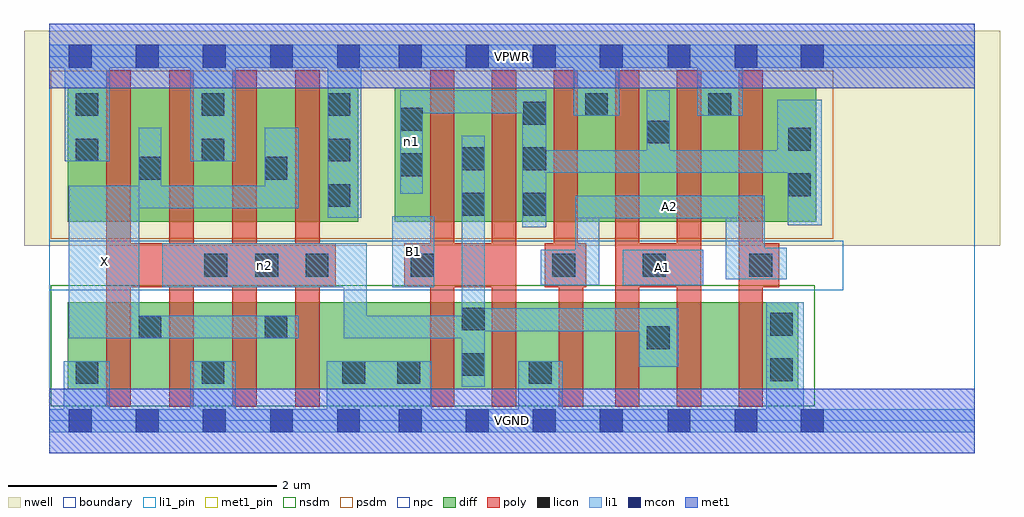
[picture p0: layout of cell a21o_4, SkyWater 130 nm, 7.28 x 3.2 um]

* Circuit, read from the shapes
.subckt a21o_4 A1 A2 B1 VGND VPWR X n1 n2
XM1 X n2 VGND VSUBS sky130_fd_pr__nfet_01v8 w=0.65 l=0.18 m=4
XM2 n2 B1 VGND VSUBS sky130_fd_pr__nfet_01v8 w=0.65 l=0.18 m=2
XM3 n3 A2 VGND VSUBS sky130_fd_pr__nfet_01v8 w=0.65 l=0.18
XM4 n2 A1 n3 VSUBS sky130_fd_pr__nfet_01v8 w=0.65 l=0.18
XM5 n4 A1 n2 VSUBS sky130_fd_pr__nfet_01v8 w=0.65 l=0.18
XM6 VGND A2 n4 VSUBS sky130_fd_pr__nfet_01v8 w=0.65 l=0.18
XM7 X n2 VPWR n5 sky130_fd_pr__pfet_01v8 w=1 l=0.18 m=4
XM8 n2 B1 n1 n5 sky130_fd_pr__pfet_01v8 w=1 l=0.18 m=2
XM9 VPWR A2 n1 n5 sky130_fd_pr__pfet_01v8 w=1 l=0.18 m=2
XM10 n1 A1 VPWR n5 sky130_fd_pr__pfet_01v8 w=1 l=0.18 m=2
.ends

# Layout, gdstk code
import gdstk
lib = gdstk.Library(unit=1e-6, precision=1e-09)
def R(c, l, rs):  # rectangles x0, y0, x1, y1
    for r in rs: c.add(gdstk.rectangle(r[:2], r[2:], *l))
def A(c, l, x, y, w, h, nx, ny, dx, dy):  # array of equal rectangles
    R(c, l, [(x+i*dx, y+j*dy, x+i*dx+w, y+j*dy+h) for i in range(nx) for j in range(ny)])
nwell = (64, 20)
diff = (65, 20)
poly = (66, 20)
licon = (66, 44)
li1_pin = (67, 16)
li1 = (67, 20)
mcon = (67, 44)
met1_pin = (68, 16)
met1 = (68, 20)
nsdm = (93, 44)
psdm = (94, 20)
npc = (95, 20)
boundary = (235, 4)

a21o_4 = lib.new_cell('a21o_4')
R(a21o_4, nwell, [(-0.19,1.305,7.09,2.91), (0,1.305,6.9,2.91)])
R(a21o_4, diff, [(0.135,0.235,5.585,0.885), (0.135,1.485,2.305,2.485), (2.575,1.485,5.72,2.485)])
A(a21o_4, poly, 0.425, 0.105, 0.18, 2.51, 4, 1, 0.47, 0)
A(a21o_4, poly, 4.22, 0.105, 0.18, 2.51, 3, 1, 0.46, 0)
R(a21o_4, poly, [(2.84,0.105,3.02,2.615), (3.3,0.105,3.48,2.615), (3.8,0.105,3.98,1.325), (0.425,0.995,2.135,1.325), (2.645,0.995,3.48,1.325), (3.695,0.995,4.005,1.325), (3.76,0.995,3.94,2.615), (4.22,0.995,4.86,1.325), (5.14,0.995,5.445,1.325)])
A(a21o_4, licon, 3.535, 1.53, 0.17, 0.17, 1, 3, 0, 0.34)
A(a21o_4, licon, 0.195, 1.935, 0.17, 0.17, 3, 2, 0.94, 0.34)
R(a21o_4, licon, [(0.195,0.275,0.365,0.445), (1.135,0.275,1.305,0.445), (2.185,0.275,2.355,0.445), (2.595,0.275,2.765,0.445), (3.575,0.275,3.745,0.445), (5.375,0.295,5.545,0.465), (3.075,0.335,3.245,0.505), (4.455,0.535,4.625,0.705), (0.665,0.615,0.835,0.785), (1.605,0.615,1.775,0.785), (5.375,0.635,5.545,0.805), (3.075,0.675,3.245,0.845), (1.155,1.075,1.325,1.245), (1.535,1.075,1.705,1.245), (1.91,1.075,2.08,1.245), (2.695,1.075,2.865,1.245), (3.75,1.075,3.92,1.245), (4.425,1.075,4.595,1.245), (5.22,1.075,5.39,1.245), (3.075,1.53,3.245,1.7), (2.075,1.595,2.245,1.765), (5.51,1.675,5.68,1.845), (0.665,1.8,0.835,1.97), (1.605,1.8,1.775,1.97), (2.615,1.825,2.785,1.995), (3.075,1.87,3.245,2.04), (5.51,2.015,5.68,2.185), (4.455,2.07,4.625,2.24), (2.615,2.165,2.785,2.335), (3.995,2.275,4.165,2.445), (4.915,2.275,5.085,2.445)])
R(a21o_4, li1_pin, [(0.145,0.615,0.67,1.755), (2.555,0.995,2.87,1.525), (4.275,1.01,4.875,1.275), (3.92,1.51,5.335,1.68)])
R(a21o_4, li1, [(0,-0.085,6.9,0.085), (0.105,-0.085,0.45,0.445), (1.05,-0.085,1.39,0.445), (2.07,-0.085,2.85,0.445), (3.495,-0.085,3.83,0.445), (5.345,-0.085,5.625,0.885), (3.075,0.255,3.245,2.125), (4.4,0.405,4.69,0.84), (0.145,0.615,0.67,1.755), (0.145,0.615,1.86,0.785), (2.195,0.615,3.245,0.785), (2.195,0.615,2.365,1.325), (3.075,0.67,4.69,0.84), (0.84,0.995,2.365,1.325), (2.555,0.995,2.87,1.525), (3.665,1.01,4.1,1.275), (3.92,1.01,4.1,1.68), (4.275,1.01,4.875,1.275), (5.045,1.055,5.335,1.68), (5.045,1.055,5.5,1.29), (3.525,1.445,3.705,2.465), (5.505,1.46,5.76,2.395), (3.92,1.51,5.335,1.68), (2.075,1.515,2.325,2.805), (0.145,1.585,1.86,1.755), (0.665,1.585,0.835,2.185), (1.605,1.585,1.86,2.185), (2.615,1.695,2.785,2.465), (3.525,1.85,5.76,2.02), (4.455,1.85,4.625,2.465), (5.43,1.85,5.76,2.395), (0.115,1.935,0.45,2.805), (1.05,1.935,1.39,2.805), (3.91,2.275,4.25,2.805), (4.83,2.275,5.17,2.805), (2.615,2.295,3.705,2.465), (0,2.635,6.9,2.805)])
A(a21o_4, mcon, 0.145, -0.085, 0.17, 0.17, 5, 2, 0.5, 2.72)
A(a21o_4, mcon, 2.605, -0.085, 0.17, 0.17, 4, 2, 0.5, 2.72)
R(a21o_4, mcon, [(4.61,-0.085,4.78,0.085), (5.11,-0.085,5.28,0.085), (5.605,-0.085,5.775,0.085), (4.61,2.635,4.78,2.805), (5.11,2.635,5.28,2.805), (5.605,2.635,5.775,2.805)])
R(a21o_4, met1_pin, [(0,-0.24,6.9,0.24), (0,2.48,6.9,2.96)])
R(a21o_4, met1, [(0,-0.24,6.9,0.24), (0,2.48,6.9,2.96)])
R(a21o_4, nsdm, [(0.01,0.11,5.71,1.01)])
R(a21o_4, psdm, [(0.01,1.36,5.845,2.61)])
R(a21o_4, npc, [(0,0.975,5.92,1.345)])
R(a21o_4, boundary, [(0,0,6.9,2.72)])
a21o_4.add(gdstk.Label('A1', (4.575,1.142), layer=67, texttype=5))
a21o_4.add(gdstk.Label('A2', (4.627,1.595), layer=67, texttype=5))
a21o_4.add(gdstk.Label('B1', (2.712,1.26), layer=67, texttype=5))
a21o_4.add(gdstk.Label('X', (0.407,1.185), layer=67, texttype=5))
a21o_4.add(gdstk.Label('n2', (1.602,1.16), layer=67, texttype=5))
a21o_4.add(gdstk.Label('n1', (2.7,2.08), layer=67, texttype=5))
a21o_4.add(gdstk.Label('VPWR', (3.45,2.72), layer=68, texttype=5))
a21o_4.add(gdstk.Label('VGND', (3.45,0), layer=68, texttype=5))
a21o_4.add(gdstk.Label('A1', (4.575,1.142), layer=67, texttype=16))
a21o_4.add(gdstk.Label('A2', (4.627,1.595), layer=67, texttype=16))
a21o_4.add(gdstk.Label('B1', (2.712,1.26), layer=67, texttype=16))
a21o_4.add(gdstk.Label('X', (0.407,1.185), layer=67, texttype=16))
a21o_4.add(gdstk.Label('VPWR', (3.45,2.72), layer=68, texttype=16))
a21o_4.add(gdstk.Label('VGND', (3.45,0), layer=68, texttype=16))

lib.write_gds('a21o_4.gds')
